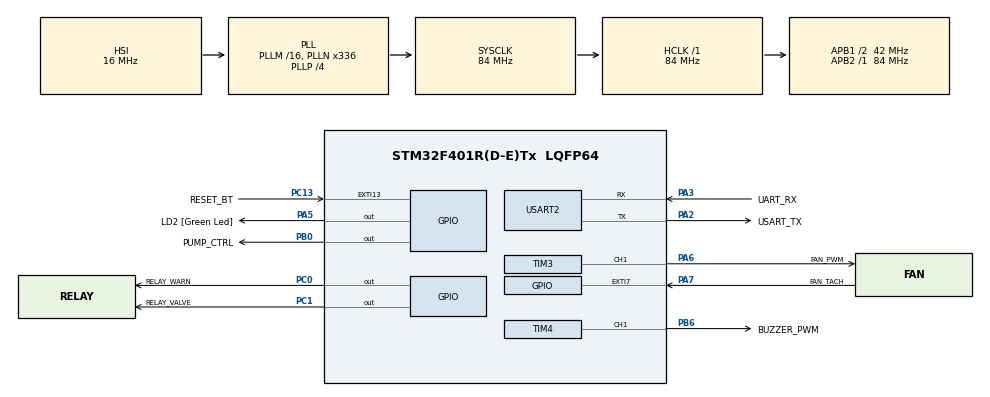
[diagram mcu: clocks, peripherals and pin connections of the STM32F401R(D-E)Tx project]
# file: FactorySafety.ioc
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Mcu.Family=STM32F4
Mcu.Name=STM32F401R(D-E)Tx
Mcu.Package=LQFP64
NVIC.EXTI15_10_IRQn=true\:0\:0\:false\:false\:true\:true\:true\:true
NVIC.EXTI9_5_IRQn=true\:0\:0\:false\:false\:true\:true\:true\:true
NVIC.PriorityGroup=NVIC_PRIORITYGROUP_4
NVIC.USART2_IRQn=true\:0\:0\:false\:false\:true\:true\:true\:true
PA13.GPIO_Label=TMS
PA13.Mode=Trace_Asynchronous_SW
PA13.Signal=SYS_JTMS-SWDIO
PA14.GPIO_Label=TCK
PA14.Mode=Trace_Asynchronous_SW
PA14.Signal=SYS_JTCK-SWCLK
PA2.GPIO_Label=USART_TX
PA2.GPIO_Mode=GPIO_MODE_AF_PP
PA2.GPIO_PuPd=GPIO_NOPULL
PA2.GPIO_Speed=GPIO_SPEED_FREQ_LOW
PA2.Mode=Asynchronous
PA2.Signal=USART2_TX
PA3.GPIO_Label=UART_RX
PA3.GPIO_Mode=GPIO_MODE_AF_PP
PA3.GPIO_PuPd=GPIO_NOPULL
PA3.GPIO_Speed=GPIO_SPEED_FREQ_LOW
PA3.Mode=Asynchronous
PA3.Signal=USART2_RX
PA5.GPIO_Label=LD2 [Green Led]
PA5.GPIO_Mode=GPIO_MODE_OUTPUT_PP
PA5.GPIO_PuPd=GPIO_NOPULL
PA5.GPIO_Speed=GPIO_SPEED_FREQ_LOW
PA5.Signal=GPIO_Output
PA6.GPIO_Label=FAN_PWM
PA6.Signal=S_TIM3_CH1
PA7.GPIO_Label=FAN_TACH
PA7.GPIO_PuPd=GPIO_PULLUP
PA7.Signal=GPXTI7
PB0.GPIO_Label=PUMP_CTRL
PB0.Signal=GPIO_Output
PB3.GPIO_Label=SWO
PB3.Mode=Trace_Asynchronous_SW
PB3.Signal=SYS_JTDO-SWO
PB6.GPIO_Label=BUZZER_PWM
PB6.Signal=S_TIM4_CH1
PC0.GPIO_Label=RELAY_WARN
PC0.Signal=GPIO_Output
PC1.GPIO_Label=RELAY_VALVE
PC1.GPIO_PuPd=GPIO_NOPULL
PC1.Signal=GPIO_Output
PC13-ANTI_TAMP.GPIO_Label=RESET_BT
PC13-ANTI_TAMP.GPIO_ModeDefaultEXTI=GPIO_MODE_IT_RISING
PC13-ANTI_TAMP.GPIO_PuPd=GPIO_NOPULL
PC13-ANTI_TAMP.Signal=GPXTI13
PC14-OSC32_IN.Mode=LSE-External-Oscillator
PC14-OSC32_IN.Signal=RCC_OSC32_IN
PC15-OSC32_OUT.Mode=LSE-External-Oscillator
PC15-OSC32_OUT.Signal=RCC_OSC32_OUT
PH0\ -\ OSC_IN.Mode=HSE-External-Clock-Source
PH0\ -\ OSC_IN.Signal=RCC_OSC_IN
PH1\ -\ OSC_OUT.Mode=HSE-External-Clock-Source
PH1\ -\ OSC_OUT.Signal=RCC_OSC_OUT
ProjectManager.HeapSize=0x200
ProjectManager.StackSize=0x400
ProjectManager.TargetToolchain=CMake
RCC.48MHZClocksFreq_Value=48000000
RCC.AHBFreq_Value=84000000
RCC.APB1CLKDivider=RCC_HCLK_DIV2
RCC.APB1Freq_Value=42000000
RCC.APB1TimFreq_Value=84000000
RCC.APB2Freq_Value=84000000
RCC.APB2TimFreq_Value=84000000
RCC.CortexFreq_Value=84000000
RCC.HCLKFreq_Value=84000000
RCC.HSE_VALUE=8000000
RCC.HSI_VALUE=16000000
RCC.PLLN=336
RCC.PLLP=RCC_PLLP_DIV4
RCC.PLLQ=7
RCC.SYSCLKFreq_VALUE=84000000
RCC.SYSCLKSource=RCC_SYSCLKSOURCE_PLLCLK
RCC.VCOOutputFreq_Value=336000000
SH.S_TIM3_CH1.0=TIM3_CH1,PWM Generation1 CH1
SH.S_TIM4_CH1.0=TIM4_CH1,PWM Generation1 CH1
TIM3.Channel-PWM\ Generation1\ CH1=TIM_CHANNEL_1
TIM3.Period=49
TIM3.Prescaler=83
TIM4.Channel-PWM\ Generation1\ CH1=TIM_CHANNEL_1
TIM4.Period=999
TIM4.Prescaler=83
USART2.VirtualMode=VM_ASYNC
VP_TIM3_VS_ClockSourceINT.Mode=Internal
VP_TIM4_VS_ClockSourceINT.Mode=Internal
board=NUCLEO-F401RE

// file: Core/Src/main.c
/* USER CODE BEGIN Header */
/**
  ******************************************************************************
  * @file           : main.c
  * @brief          : Main program body
  ******************************************************************************
  * @attention
  *
  * Copyright (c) 2026 STMicroelectronics.
  * All rights reserved.
  *
  * This software is licensed under terms that can be found in the LICENSE file
  * in the root directory of this software component.
  * If no LICENSE file comes with this software, it is provided AS-IS.
  *
  ******************************************************************************
  */
/* USER CODE END Header */
#include "main.h"

/* USER CODE BEGIN PTD */
typedef enum {
  STATE_WAIT_STX,  // STX(0x02)를 기다리는 상태
  STATE_READ_LEN,  // Length를 읽는 상태
  STATE_READ_CMD,  // Command를 읽는 상태
  STATE_READ_DATA, // Data를 읽는 상태
  STATE_READ_CS,   // Checksum을 읽는 상태
  STATE_WAIT_ETX   // ETX(0x03)를 기다리는 상태
} RX_State_t;

typedef struct {
  uint8_t fan_speed;   // 0x00(OFF), 0x01(약), 0x02(중), 0x03(강)
  uint8_t valve;       // 0x00(닫힘), 0x01(열림)
  uint8_t siren;       // 0x00(OFF), 0x01(ON)
} ActuatorStatus_t;
/* USER CODE END PTD */

/* USER CODE BEGIN PD */
#define PACKET_STX              0x02
#define PACKET_ETX              0x03
#define CMD_FAN_CTRL            0x10
#define CMD_VALVE_CTRL          0x20
#define CMD_SIREN_CTRL          0x30
#define CMD_REQ_STATUS          0x40
#define CMD_GAS_EMERG           0x50
#define CMD_MAX_EMERG           0x60
#define CMD_SYS_RESET           0x70

ActuatorStatus_t current_status = {0x01, 0x01, 0x00};
/* USER CODE END PD */

TIM_HandleTypeDef htim3;
TIM_HandleTypeDef htim4;

UART_HandleTypeDef huart2;

/* USER CODE BEGIN PV */
RX_State_t rx_state = STATE_WAIT_STX;
uint8_t rx_byte;             // 방금 수신된 1바이트를 담을 변수
uint8_t rx_len;              // 수신된 Length 값
uint8_t rx_cmd;              // 수신된 Command 값
uint8_t rx_data_buf[10];     // 수신된 Data를 모아둘 배열
uint8_t rx_data_idx = 0;     // Data 배열 인덱스
uint8_t rx_calc_cs = 0;      // 수신하면서 내가 직접 계산(XOR)할 Checksum
uint8_t rx_recv_cs = 0;      // 라즈베리파이가 보낸 Checksum

static volatile uint32_t siren_freq = 600;
static volatile int8_t siren_dir = 1;
static uint32_t siren_start_tick = 0;
static uint8_t  siren_buzzer_started = 0;
/* USER CODE END PV */

void SystemClock_Config(void);
static void MX_GPIO_Init(void);
static void MX_TIM3_Init(void);
static void MX_TIM4_Init(void);
static void MX_USART2_UART_Init(void);
/* USER CODE BEGIN PFP */
void Send_ACK(uint8_t cmd);
void Send_Status_Response(void);
/* USER CODE END PFP */

/* USER CODE BEGIN 0 */

/**
* @brief 사이렌 ON
*/
void Siren_ON(void)
{
  HAL_GPIO_WritePin(GPIOC, RELAY_WARN_Pin, GPIO_PIN_SET);

  siren_freq = 600;
  siren_dir = 1;
  siren_start_tick = HAL_GetTick();
  siren_buzzer_started = 0;

  current_status.siren = 0x01;
}

/**
* @brief 사이렌 OFF
*/
void Siren_OFF(void)
{
  current_status.siren = 0x00;
  siren_buzzer_started = 0;
  __HAL_TIM_SET_COMPARE(&htim4, TIM_CHANNEL_1, 0);
  HAL_TIM_PWM_Stop(&htim4, TIM_CHANNEL_1);
  HAL_GPIO_WritePin(GPIOC, RELAY_WARN_Pin, GPIO_PIN_RESET);
}

//펌프와 밸브를 동시에 off 시키는 함수
void Valve_ON(void)
{
  HAL_GPIO_WritePin(PUMP_CTRL_GPIO_Port, PUMP_CTRL_Pin, GPIO_PIN_SET);
  HAL_GPIO_WritePin(GPIOC, RELAY_VALVE_Pin, GPIO_PIN_SET);
  current_status.valve = 0x01;
}

//펌프와 밸브를 동시에 off 시키는 함수
void Valve_OFF(void)
{
  HAL_GPIO_WritePin(PUMP_CTRL_GPIO_Port, PUMP_CTRL_Pin, GPIO_PIN_RESET);
  HAL_GPIO_WritePin(GPIOC, RELAY_VALVE_Pin, GPIO_PIN_RESET);
  current_status.valve = 0x00;
}

/**
* @brief 팬 속도(Duty Cycle %) 설정 함수 (0% ~ 100%)
* @param duty_percent: 0 (정지) ~ 100 (최대 속도)
*/
void Set_Fan_Duty(uint8_t duty_percent)
{
  if (duty_percent > 100) duty_percent = 100;

  // Period(ARR) 값 기반으로 Compare(CCR) 값 계산
  uint32_t period = htim3.Init.Period; // 현재 설정된 ARR 값 (49)
  uint32_t pulse = ((period + 1) * duty_percent) / 100;

  // TIM3 Channel 1 PWM Pulse 설정
  __HAL_TIM_SET_COMPARE(&htim3, TIM_CHANNEL_1, pulse);
}

/**
* @brief 단계를 이용한 팬 속도 설정 함수 (0: OFF, 1: 약, 2: 중, 3: 강)
*/
void Set_Fan_Speed_Level(uint8_t level)
{
  switch(level)
  {
    case 0: // OFF
      Set_Fan_Duty(0);
      current_status.fan_speed = 0x00;
      break;
    case 1: // 약풍 (30%)
      Set_Fan_Duty(30);
      current_status.fan_speed = 0x01;
      break;
    case 2: // 중풍 (60%)
      Set_Fan_Duty(60);
      current_status.fan_speed = 0x02;
      break;
    case 3: // 강풍 (100%)
      Set_Fan_Duty(100);
      current_status.fan_speed = 0x03;
      break;
    default:
      break;
  }
}

/* USER CODE END 0 */

int main(void)
{

  /* MCU Configuration--------------------------------------------------------*/

  /* Reset of all peripherals, Initializes the Flash interface and the Systick. */
  HAL_Init();

  /* Configure the system clock */
  SystemClock_Config();

  /* Initialize all configured peripherals */
  MX_GPIO_Init();
  MX_TIM3_Init();
  MX_TIM4_Init();
  MX_USART2_UART_Init();

  /* USER CODE BEGIN 2 */

  // 1. 팬 PWM 타이머(TIM3 CH1) 출력 시작
  HAL_TIM_PWM_Start(&htim3, TIM_CHANNEL_1);

  // 2. 초기 팬 속도 설정 (예: OFF 상태 0%)
  Set_Fan_Duty(0);

  // 3. UART 수신 인터럽트 시작
  HAL_UART_Receive_IT(&huart2, &rx_byte, 1);
  /* USER CODE END 2 */

  /* Infinite loop */
  while (1)
  {

    /* USER CODE BEGIN 3 */
    //HAL_GPIO_TogglePin(GPIOA, LD2_Pin); //STM보드 LED 깜빡임
    //HAL_Delay(1000); // 1000ms 지연
    // 1ms마다 도는 인터럽트 대신, 메인 루프에서 시간을 체크하여 실행 (논블로킹 딜레이)
    if (current_status.siren == 0x01)
    {
      if (!siren_buzzer_started && (HAL_GetTick() - siren_start_tick >= 50))
      {
        HAL_TIM_PWM_Start(&htim4, TIM_CHANNEL_1);
        siren_buzzer_started = 1;
      }

      // 부저가 시작된 후 Sweep 주파수 변조 실행
      if (siren_buzzer_started)
      {
        static uint32_t last_siren_tick = 0;
        if (HAL_GetTick() - last_siren_tick >= 5)
        {
          last_siren_tick = HAL_GetTick();

          siren_freq += (siren_dir * 25);

          if (siren_freq >= 1600) {
            siren_freq = 1600;
            siren_dir = -1;
          } else if (siren_freq <= 600) {
            siren_freq = 600;
            siren_dir = 1;
          }

          uint32_t period = (1000000 / siren_freq) - 1;
          uint32_t pulse = (period + 1) / 80;
          if (pulse == 0) pulse = 1;

          __HAL_TIM_SET_AUTORELOAD(&htim4, period);
          __HAL_TIM_SET_COMPARE(&htim4, TIM_CHANNEL_1, pulse);
        }
      }
    }
    else
    {
      HAL_TIM_PWM_Stop(&htim4, TIM_CHANNEL_1);
    }
  }
  /* USER CODE END 3 */
}

void SystemClock_Config(void)
{
  RCC_OscInitTypeDef RCC_OscInitStruct = {0};
  RCC_ClkInitTypeDef RCC_ClkInitStruct = {0};

  /** Configure the main internal regulator output voltage
  */
  __HAL_RCC_PWR_CLK_ENABLE();
  __HAL_PWR_VOLTAGESCALING_CONFIG(PWR_REGULATOR_VOLTAGE_SCALE2);

  /** Initializes the RCC Oscillators according to the specified parameters
  * in the RCC_OscInitTypeDef structure.
  */
  RCC_OscInitStruct.OscillatorType = RCC_OSCILLATORTYPE_HSI;
  RCC_OscInitStruct.HSIState = RCC_HSI_ON;
  RCC_OscInitStruct.HSICalibrationValue = RCC_HSICALIBRATION_DEFAULT;
  RCC_OscInitStruct.PLL.PLLState = RCC_PLL_ON;
  RCC_OscInitStruct.PLL.PLLSource = RCC_PLLSOURCE_HSI;
  RCC_OscInitStruct.PLL.PLLM = 16;
  RCC_OscInitStruct.PLL.PLLN = 336;
  RCC_OscInitStruct.PLL.PLLP = RCC_PLLP_DIV4;
  RCC_OscInitStruct.PLL.PLLQ = 7;
  if (HAL_RCC_OscConfig(&RCC_OscInitStruct) != HAL_OK)
  {
    Error_Handler();
  }

  /** Initializes the CPU, AHB and APB buses clocks
  */
  RCC_ClkInitStruct.ClockType = RCC_CLOCKTYPE_HCLK|RCC_CLOCKTYPE_SYSCLK
                              |RCC_CLOCKTYPE_PCLK1|RCC_CLOCKTYPE_PCLK2;
  RCC_ClkInitStruct.SYSCLKSource = RCC_SYSCLKSOURCE_PLLCLK;
  RCC_ClkInitStruct.AHBCLKDivider = RCC_SYSCLK_DIV1;
  RCC_ClkInitStruct.APB1CLKDivider = RCC_HCLK_DIV2;
  RCC_ClkInitStruct.APB2CLKDivider = RCC_HCLK_DIV1;

  if (HAL_RCC_ClockConfig(&RCC_ClkInitStruct, FLASH_LATENCY_2) != HAL_OK)
  {
    Error_Handler();
  }
}

static void MX_TIM3_Init(void)
{

  TIM_ClockConfigTypeDef sClockSourceConfig = {0};
  TIM_MasterConfigTypeDef sMasterConfig = {0};
  TIM_OC_InitTypeDef sConfigOC = {0};

  htim3.Instance = TIM3;
  htim3.Init.Prescaler = 83;
  htim3.Init.CounterMode = TIM_COUNTERMODE_UP;
  htim3.Init.Period = 49;
  htim3.Init.ClockDivision = TIM_CLOCKDIVISION_DIV1;
  htim3.Init.AutoReloadPreload = TIM_AUTORELOAD_PRELOAD_DISABLE;
  if (HAL_TIM_Base_Init(&htim3) != HAL_OK)
  {
    Error_Handler();
  }
  sClockSourceConfig.ClockSource = TIM_CLOCKSOURCE_INTERNAL;
  if (HAL_TIM_ConfigClockSource(&htim3, &sClockSourceConfig) != HAL_OK)
  {
    Error_Handler();
  }
  if (HAL_TIM_PWM_Init(&htim3) != HAL_OK)
  {
    Error_Handler();
  }
  sMasterConfig.MasterOutputTrigger = TIM_TRGO_RESET;
  sMasterConfig.MasterSlaveMode = TIM_MASTERSLAVEMODE_DISABLE;
  if (HAL_TIMEx_MasterConfigSynchronization(&htim3, &sMasterConfig) != HAL_OK)
  {
    Error_Handler();
  }
  sConfigOC.OCMode = TIM_OCMODE_PWM1;
  sConfigOC.Pulse = 0;
  sConfigOC.OCPolarity = TIM_OCPOLARITY_HIGH;
  sConfigOC.OCFastMode = TIM_OCFAST_DISABLE;
  if (HAL_TIM_PWM_ConfigChannel(&htim3, &sConfigOC, TIM_CHANNEL_1) != HAL_OK)
  {
    Error_Handler();
  }
  HAL_TIM_MspPostInit(&htim3);

}

static void MX_TIM4_Init(void)
{

  TIM_ClockConfigTypeDef sClockSourceConfig = {0};
  TIM_MasterConfigTypeDef sMasterConfig = {0};
  TIM_OC_InitTypeDef sConfigOC = {0};

  htim4.Instance = TIM4;
  htim4.Init.Prescaler = 83;
  htim4.Init.CounterMode = TIM_COUNTERMODE_UP;
  htim4.Init.Period = 999;
  htim4.Init.ClockDivision = TIM_CLOCKDIVISION_DIV1;
  htim4.Init.AutoReloadPreload = TIM_AUTORELOAD_PRELOAD_DISABLE;
  if (HAL_TIM_Base_Init(&htim4) != HAL_OK)
  {
    Error_Handler();
  }
  sClockSourceConfig.ClockSource = TIM_CLOCKSOURCE_INTERNAL;
  if (HAL_TIM_ConfigClockSource(&htim4, &sClockSourceConfig) != HAL_OK)
  {
    Error_Handler();
  }
  if (HAL_TIM_PWM_Init(&htim4) != HAL_OK)
  {
    Error_Handler();
  }
  sMasterConfig.MasterOutputTrigger = TIM_TRGO_RESET;
  sMasterConfig.MasterSlaveMode = TIM_MASTERSLAVEMODE_DISABLE;
  if (HAL_TIMEx_MasterConfigSynchronization(&htim4, &sMasterConfig) != HAL_OK)
  {
    Error_Handler();
  }
  sConfigOC.OCMode = TIM_OCMODE_PWM1;
  sConfigOC.Pulse = 0;
  sConfigOC.OCPolarity = TIM_OCPOLARITY_HIGH;
  sConfigOC.OCFastMode = TIM_OCFAST_DISABLE;
  if (HAL_TIM_PWM_ConfigChannel(&htim4, &sConfigOC, TIM_CHANNEL_1) != HAL_OK)
  {
    Error_Handler();
  }
  HAL_TIM_MspPostInit(&htim4);

}

static void MX_USART2_UART_Init(void)
{

  huart2.Instance = USART2;
  huart2.Init.BaudRate = 115200;
  huart2.Init.WordLength = UART_WORDLENGTH_8B;
  huart2.Init.StopBits = UART_STOPBITS_1;
  huart2.Init.Parity = UART_PARITY_NONE;
  huart2.Init.Mode = UART_MODE_TX_RX;
  huart2.Init.HwFlowCtl = UART_HWCONTROL_NONE;
  huart2.Init.OverSampling = UART_OVERSAMPLING_16;
  if (HAL_UART_Init(&huart2) != HAL_OK)
  {
    Error_Handler();
  }

}

static void MX_GPIO_Init(void)
{
  GPIO_InitTypeDef GPIO_InitStruct = {0};

  /* GPIO Ports Clock Enable */
  __HAL_RCC_GPIOC_CLK_ENABLE();
  __HAL_RCC_GPIOH_CLK_ENABLE();
  __HAL_RCC_GPIOA_CLK_ENABLE();
  __HAL_RCC_GPIOB_CLK_ENABLE();

  /*Configure GPIO pin Output Level */
  HAL_GPIO_WritePin(GPIOC, RELAY_WARN_Pin|RELAY_VALVE_Pin, GPIO_PIN_RESET);

  /*Configure GPIO pin Output Level */
  HAL_GPIO_WritePin(LD2_GPIO_Port, LD2_Pin, GPIO_PIN_RESET);

  /*Configure GPIO pin Output Level */
  HAL_GPIO_WritePin(PUMP_CTRL_GPIO_Port, PUMP_CTRL_Pin, GPIO_PIN_RESET);

  /*Configure GPIO pin : RESET_BT_Pin */
  GPIO_InitStruct.Pin = RESET_BT_Pin;
  GPIO_InitStruct.Mode = GPIO_MODE_IT_RISING;
  GPIO_InitStruct.Pull = GPIO_NOPULL;
  HAL_GPIO_Init(RESET_BT_GPIO_Port, &GPIO_InitStruct);

  /*Configure GPIO pins : RELAY_WARN_Pin RELAY_VALVE_Pin */
  GPIO_InitStruct.Pin = RELAY_WARN_Pin|RELAY_VALVE_Pin;
  GPIO_InitStruct.Mode = GPIO_MODE_OUTPUT_PP;
  GPIO_InitStruct.Pull = GPIO_NOPULL;
  GPIO_InitStruct.Speed = GPIO_SPEED_FREQ_LOW;
  HAL_GPIO_Init(GPIOC, &GPIO_InitStruct);

  /*Configure GPIO pin : LD2_Pin */
  GPIO_InitStruct.Pin = LD2_Pin;
  GPIO_InitStruct.Mode = GPIO_MODE_OUTPUT_PP;
  GPIO_InitStruct.Pull = GPIO_NOPULL;
  GPIO_InitStruct.Speed = GPIO_SPEED_FREQ_LOW;
  HAL_GPIO_Init(LD2_GPIO_Port, &GPIO_InitStruct);

  /*Configure GPIO pin : FAN_TACH_Pin */
  GPIO_InitStruct.Pin = FAN_TACH_Pin;
  GPIO_InitStruct.Mode = GPIO_MODE_IT_RISING;
  GPIO_InitStruct.Pull = GPIO_PULLUP;
  HAL_GPIO_Init(FAN_TACH_GPIO_Port, &GPIO_InitStruct);

  /*Configure GPIO pin : PUMP_CTRL_Pin */
  GPIO_InitStruct.Pin = PUMP_CTRL_Pin;
  GPIO_InitStruct.Mode = GPIO_MODE_OUTPUT_PP;
  GPIO_InitStruct.Pull = GPIO_NOPULL;
  GPIO_InitStruct.Speed = GPIO_SPEED_FREQ_LOW;
  HAL_GPIO_Init(PUMP_CTRL_GPIO_Port, &GPIO_InitStruct);

  /* EXTI interrupt init*/
  HAL_NVIC_SetPriority(EXTI9_5_IRQn, 0, 0);
  HAL_NVIC_EnableIRQ(EXTI9_5_IRQn);

  HAL_NVIC_SetPriority(EXTI15_10_IRQn, 0, 0);
  HAL_NVIC_EnableIRQ(EXTI15_10_IRQn);

}

/* USER CODE BEGIN 4 */
void Send_ACK(uint8_t cmd) {
  uint8_t tx_buf[6]; // STX(1) + Len(1) + Cmd(1) + CS(1) + ETX(1) = 5바이트면 충분하지만 여유있게 6 설정
  uint8_t checksum = 0;

  tx_buf[0] = PACKET_STX;  // 0x02
  tx_buf[1] = 0;           // Length: 0 (데이터 없음)
  tx_buf[2] = cmd;         // 수신했던 Command ID 그대로 반환

  // 체크섬 계산 (Length부터 Command까지 XOR)
  checksum ^= tx_buf[1];
  checksum ^= tx_buf[2];
  tx_buf[3] = checksum;
  tx_buf[4] = PACKET_ETX;  // 0x03

  // UART2를 통해 5바이트 전송 (타임아웃 100ms)
  // &huart2 부분은 본인의 UART 핸들러 변수명에 맞게 수정하세요.
  HAL_UART_Transmit(&huart2, tx_buf, 5, 100);
}

void Send_Status_Response(void) {
  uint8_t tx_buf[10]; // STX(1) + Len(1) + Cmd(1) + Data(3) + CS(1) + ETX(1) = 총 8바이트
  uint8_t checksum = 0;
  uint8_t idx = 0;

  tx_buf[idx++] = PACKET_STX;        // 0x02
  tx_buf[idx++] = 3;                 // Length: 3 (Data1, Data2, Data3)
  tx_buf[idx++] = CMD_REQ_STATUS;    // 0x40

  // 데이터 영역 채우기 (현재 하드웨어 상태 변수 값 대입)
  tx_buf[idx++] = current_status.fan_speed; // Data1
  tx_buf[idx++] = current_status.valve;     // Data2
  tx_buf[idx++] = current_status.siren;     // Data3

  // 체크섬 계산 (Length부터 모든 Data까지 순서대로 XOR)
  // tx_buf[1]부터 tx_buf[5]까지 계산하게 됩니다.
  for(int i = 1; i < idx; i++) {
      checksum ^= tx_buf[i];
  }
  tx_buf[idx++] = checksum;

  tx_buf[idx++] = PACKET_ETX;        // 0x03

  // 조립된 총 8바이트의 패킷을 라즈베리파이로 전송
  HAL_UART_Transmit(&huart2, tx_buf, idx, 100);
}

void Process_Integrated_Command(uint8_t cmd, uint8_t *data, uint8_t len) {
  switch(cmd) {
    case CMD_FAN_CTRL:
      // 팬 구동 및 속도 제어: 0x00(OFF), 0x01(약), 0x02(중), 0x03(강)
      if (len > 0) {
        Set_Fan_Speed_Level(data[0]);
      }
      Send_ACK(cmd); // 라즈베리파이로 잘 받았다고 응답
      break;

    case CMD_VALVE_CTRL:
      // 솔레노이드 가스 밸브 제어: 0x00(닫힘), 0x01(열림)
      if (len > 0) {
        if (data[0] == 0x01) {
          Valve_ON();
        } else {
          Valve_OFF();
        }
      }
      Send_ACK(cmd);
      break;

    case CMD_SIREN_CTRL:
      //사이렌 및 부저 제어: 0x00(OFF), 0x01(ON)
      if (len > 0) {
        if (data[0] == 0x01) {
          Siren_ON();
        } else {
          Siren_OFF();
        }
      }
      Send_ACK(cmd);
      break;

    case CMD_REQ_STATUS:
      //액추에이터 현재 상태 요청
      Send_Status_Response(); // 상태 데이터 4바이트를 담아서 응답
      break;

    case CMD_GAS_EMERG:
      //가스 누출 위험 대응: 사이렌 ON + 밸브 즉시 차단 + 환기팬(강)
      Siren_ON();
      Valve_OFF();
      Set_Fan_Speed_Level(3);
      Send_ACK(cmd);
      break;

    case CMD_MAX_EMERG:
      //최고 수준 비상 대응: 사이렌 ON + 밸브 차단 + 환기팬 OFF
      Siren_ON();
      Valve_OFF();
      Set_Fan_Speed_Level(0);
      Send_ACK(cmd);
      break;

    case CMD_SYS_RESET:
      //비상 상황 해제: 사이렌 OFF + 밸브 오픈 + 환기팬(약)
      Siren_OFF();
      Valve_ON();
      Set_Fan_Speed_Level(1);
      Send_ACK(cmd);
      break;
    }
}

void HAL_UART_RxCpltCallback(UART_HandleTypeDef *huart) {
  if (huart->Instance == USART2) {
    HAL_GPIO_TogglePin(GPIOA, LD2_Pin);
    switch (rx_state) {
      case STATE_WAIT_STX:
        if (rx_byte == PACKET_STX) {  // 0x02가 들어오면 패킷 시작
          rx_state = STATE_READ_LEN;
          rx_calc_cs = 0;           // 체크섬 계산 초기화
        }
        break;

      case STATE_READ_LEN:
        rx_len = rx_byte;
        rx_calc_cs ^= rx_byte;        // XOR 체크섬 계산 누적
        rx_data_idx = 0;
        rx_state = STATE_READ_CMD;
        break;

      case STATE_READ_CMD:
        rx_cmd = rx_byte;
        rx_calc_cs ^= rx_byte;

        // 데이터가 있으면 DATA 상태로, 없으면(Length==0) 바로 CS 상태로
        if (rx_len > 0) {
          rx_state = STATE_READ_DATA;
        } else {
          rx_state = STATE_READ_CS;
        }
        break;

      case STATE_READ_DATA:
        rx_data_buf[rx_data_idx++] = rx_byte;
        rx_calc_cs ^= rx_byte;

        // 약속한 길이만큼 다 받았으면
        if (rx_data_idx >= rx_len) {
          rx_state = STATE_READ_CS;
        }
        break;

      case STATE_READ_CS:
        rx_recv_cs = rx_byte;
        rx_state = STATE_WAIT_ETX;
        break;

      case STATE_WAIT_ETX:
        if (rx_byte == PACKET_ETX) {  // 0x03이 들어오면 패킷 종료
          // 통신 중 데이터가 깨지지 않았는지 검증
          if (rx_calc_cs == rx_recv_cs) {
            // 완벽한 패킷 수신 성공! 명령어 처리 함수 호출
            Process_Integrated_Command(rx_cmd, rx_data_buf, rx_len);
          }
        }
        // 패킷 처리가 끝났거나 실패했으므로 다시 처음 상태로 초기화
        rx_state = STATE_WAIT_STX;
        break;
    }
  // 다음 1바이트 수신을 위해 인터럽트 다시 장전 (필수!)
  HAL_UART_Receive_IT(&huart2, &rx_byte, 1);
  }
}

// 현재 상태를 저장하는 전역/정적 변수 (0: OFF, 1: ON)
  static uint8_t state = 0;

// 외부 인터럽트(핀 상태 변화)가 발생하면 자동으로 호출되는 콜백 함수
void HAL_GPIO_EXTI_Callback(uint16_t GPIO_Pin)
{
  // 방금 눌린 핀이 파란색 버튼(PC13)인지 확인
  if(GPIO_Pin == GPIO_PIN_13)
  {
    // --------------------------------------------------
    // 여기에 레귤레이터 초기화 코드를 작성합니다.
    // --------------------------------------------------

    // 채터링(디바운스) 방지: 200ms 이내 연속 입력 무시
    static uint32_t last_interrupt_time = 0;
    uint32_t current_time = HAL_GetTick();

    if (current_time - last_interrupt_time > 200)
    {
      if (state == 0)
      {
        Valve_ON();
        Set_Fan_Speed_Level(3); // 강풍 (100%)
        Siren_ON();
        state = 1;
      }
      else
      {
        Valve_OFF();
        Set_Fan_Speed_Level(0); // OFF (0%)
        Siren_OFF();
        state = 0;
      }
      last_interrupt_time = current_time;
    }
  }
}
/* USER CODE END 4 */

void Error_Handler(void)
{
  __disable_irq();
  while (1)
  {
  }
}
